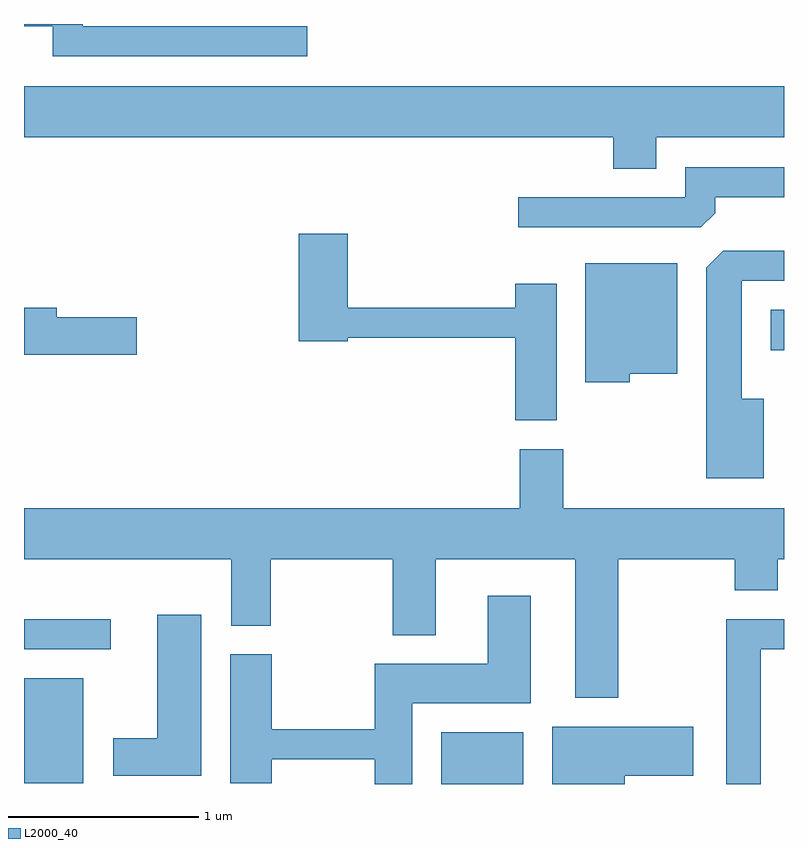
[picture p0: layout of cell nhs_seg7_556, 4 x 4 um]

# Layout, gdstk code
import gdstk
lib = gdstk.Library(unit=1e-6, precision=1e-09)
def R(c, l, rs):  # rectangles x0, y0, x1, y1
    for r in rs: c.add(gdstk.rectangle(r[:2], r[2:], *l))
def P(c, l, *ps):  # polygons
    for p in ps: c.add(gdstk.Polygon(p, *l))
L2000_40 = (2000, 40)

nhs_seg7_556 = lib.new_cell('nhs_seg7_556')
R(nhs_seg7_556, L2000_40, [(203.806,1704.252,204.239,1704.524), (201.611,1704.256,201.924,1704.809), (201.611,1704.961,202.068,1705.119), (205.541,1706.536,205.611,1706.749)])
P(nhs_seg7_556, L2000_40, [(203.103,1708.239),(201.919,1708.239),(201.919,1708.252),(201.611,1708.252),(201.611,1708.241),(201.761,1708.241),(201.761,1708.081),(203.103,1708.081)],
  [(204.939,1707.656),(205.611,1707.656),(205.611,1707.924),(201.611,1707.924),(201.611,1707.656),(204.711,1707.656),(204.711,1707.491),(204.939,1707.491)],
  [(205.249,1707.257),(205.249,1707.341),(205.611,1707.341),(205.611,1707.499),(205.091,1707.499),(205.091,1707.339),(204.213,1707.339),(204.213,1707.181),(205.174,1707.181)],
  [(204.414,1706.884),(204.196,1706.884),(204.196,1706.759),(203.314,1706.759),(203.314,1707.149),(203.056,1707.149),(203.056,1706.581),(203.314,1706.581),(203.314,1706.601),(204.196,1706.601),(204.196,1706.166),(204.414,1706.166)],
  [(205.504,1706.279),(205.389,1706.279),(205.389,1706.901),(205.611,1706.901),(205.611,1707.059),(205.292,1707.059),(205.201,1706.969),(205.201,1705.861),(205.504,1705.861)],
  [(204.799,1706.411),(205.049,1706.411),(205.049,1706.994),(204.566,1706.994),(204.566,1706.366),(204.799,1706.366)],
  [(202.204,1706.709),(201.784,1706.709),(201.784,1706.759),(201.611,1706.759),(201.611,1706.511),(202.204,1706.511)],
  [(204.449,1706.014),(204.221,1706.014),(204.221,1705.704),(201.611,1705.704),(201.611,1705.436),(202.701,1705.436),(202.701,1705.086),(202.909,1705.086),(202.909,1705.436),(203.551,1705.436),(203.551,1705.036),(203.779,1705.036),(203.779,1705.436),(204.511,1705.436),(204.511,1704.706),(204.739,1704.706),(204.739,1705.436),(205.351,1705.436),(205.351,1705.271),(205.579,1705.271),(205.579,1705.436),(205.611,1705.436),(205.611,1705.704),(204.449,1705.704)],
  [(203.654,1704.676),(204.279,1704.676),(204.279,1705.244),(204.051,1705.244),(204.051,1704.884),(203.456,1704.884),(203.456,1704.539),(202.914,1704.539),(202.914,1704.934),(202.696,1704.934),(202.696,1704.256),(202.914,1704.256),(202.914,1704.381),(203.456,1704.381),(203.456,1704.252),(203.654,1704.252)],
  [(202.544,1705.144),(202.311,1705.144),(202.311,1704.494),(202.081,1704.494),(202.081,1704.296),(202.544,1704.296)],
  [(205.489,1704.961),(205.611,1704.961),(205.611,1705.119),(205.306,1705.119),(205.306,1704.252),(205.489,1704.252)],
  [(204.774,1704.296),(205.134,1704.296),(205.134,1704.554),(204.391,1704.554),(204.391,1704.252),(204.774,1704.252)])

lib.write_gds('nhs_seg7_556.gds')
